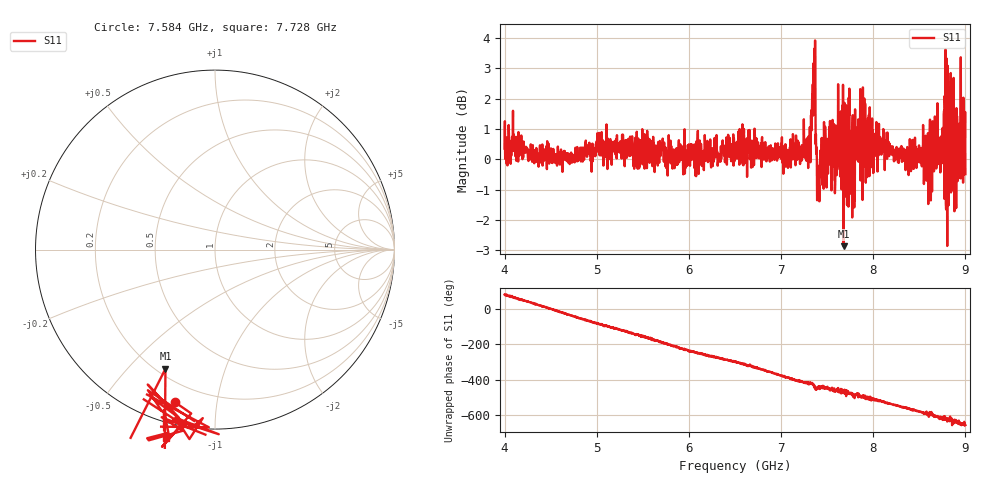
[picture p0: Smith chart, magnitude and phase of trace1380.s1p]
! Created with skrf 1.8.0 (http://scikit-rf.org).
# Hz S RI R 50.0
!freq ReS11 ImS11
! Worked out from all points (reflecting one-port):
!   1601 points, 4 GHz to 9 GHz, reference 50 ohm
!   lowest |S11| = -2.9 dB at 7.678 GHz (marker M1), VSWR 6.12, Z = 11.7 - j32.1 ohm
!   phase of S11 starts at 81 deg and turns -736 deg over the sweep
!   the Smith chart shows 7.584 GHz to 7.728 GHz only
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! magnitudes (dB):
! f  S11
! 4 GHz  0.4
! 4.625 GHz  -0.3
! 5.25 GHz  0.2
! 5.875 GHz  0.0
! 6.5 GHz  0.4
! 7.125 GHz  0.5
! 7.297 GHz  0.7
! 7.347 GHz  1.4
! 7.362 GHz  3.7
! 7.4 GHz  -0.3
! 7.412 GHz  -0.9
! 7.538 GHz  0.5
! 7.591 GHz  1.1
! 7.669 GHz  1.1
! 7.678 GHz  -2.9
! 7.703 GHz  -0.3
! 7.75 GHz  0.3
! 7.775 GHz  1.1
! 7.856 GHz  0.4
! 8.375 GHz  -0.2
! 8.55 GHz  -0.8
! 8.603 GHz  -0.9
! 8.656 GHz  1.1
! 8.725 GHz  0.7
! 8.822 GHz  1.2
! 8.875 GHz  1.0
! 8.972 GHz  0.5
! 9 GHz  -0.5
